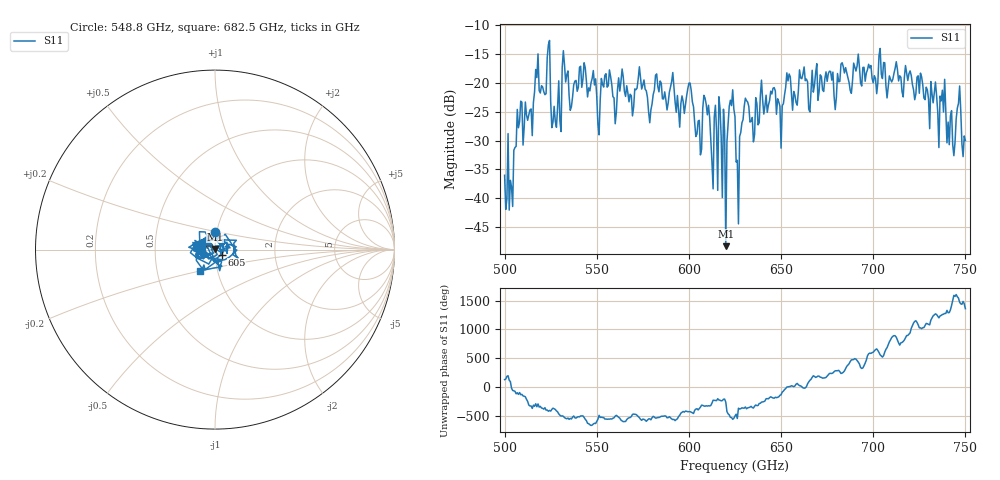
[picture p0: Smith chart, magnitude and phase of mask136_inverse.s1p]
!Created with skrf (http://scikit-rf.org).
# GHz S MA R 50.0
!freq magS11 angS11
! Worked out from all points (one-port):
!   401 points, 500 GHz to 750 GHz, reference 50 ohm
!   lowest |S11| = -48.3 dB at 620 GHz (marker M1), VSWR 1.01, Z = 50 + j0.38 ohm
!   |S11| at or under -10 dB: start of sweep to end of sweep
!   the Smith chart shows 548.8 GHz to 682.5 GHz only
!   S11 on the Smith chart (normalised r, x): 548.8 GHz: 0.98, +0.19; 605 GHz: 1.07, -0.06; 682.5 GHz: 0.82, -0.20
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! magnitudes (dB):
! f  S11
! 500 GHz  -36.0
! 503.8 GHz  -38.0
! 517.5 GHz  -19.1
! 523.8 GHz  -13.4
! 526.9 GHz  -24.1
! 531.2 GHz  -17.3
! 548.8 GHz  -20.4
! 550.6 GHz  -27.2
! 562.5 GHz  -21.4
! 593.8 GHz  -22.2
! 600.6 GHz  -20.0
! 605 GHz  -26.6
! 609.4 GHz  -23.7
! 611.9 GHz  -29.8
! 620 GHz  -48.3
! 623.1 GHz  -23.9
! 625 GHz  -25.9
! 626.9 GHz  -44.5
! 631.2 GHz  -23.1
! 634.4 GHz  -26.0
! 656.2 GHz  -24.7
! 682.5 GHz  -16.7
! 687.5 GHz  -21.3
! 718.8 GHz  -19.6
! 737.5 GHz  -21.3
! 742.5 GHz  -24.8
! 746.2 GHz  -23.6
! 750 GHz  -30.0
